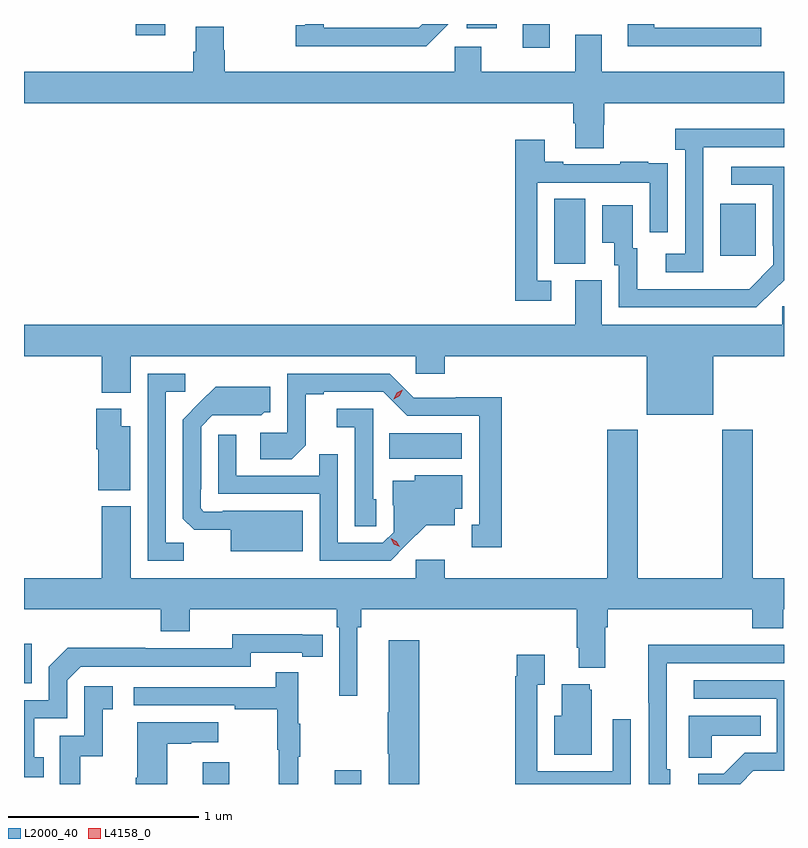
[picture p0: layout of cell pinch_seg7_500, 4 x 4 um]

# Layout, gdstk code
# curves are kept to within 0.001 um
import gdstk
lib = gdstk.Library(unit=1e-6, precision=1e-09)
def R(c, l, rs):  # rectangles x0, y0, x1, y1
    for r in rs: c.add(gdstk.rectangle(r[:2], r[2:], *l))
def P(c, l, *ps):  # polygons
    for p in ps: c.add(gdstk.Polygon(p, *l))
L2000_40 = (2000, 40)
L4158_0 = (4158, 0)

pinch_seg7_500 = lib.new_cell('pinch_seg7_500')
R(pinch_seg7_500, L2000_40, [(121.733,1072.956,121.873,1073.071), (122.429,1072.956,122.569,1073.029), (120.793,1073.487,120.834,1073.695), (122.716,1074.668,123.097,1074.802), (123.584,1075.693,123.748,1076.036), (124.457,1075.737,124.645,1076.011), (123.419,1076.832,123.559,1076.956), (121.381,1076.898,121.537,1076.956), (123.122,1076.934,123.28,1076.956)])
P(pinch_seg7_500, L2000_40, [(123.026,1076.956),(122.89,1076.956),(122.871,1076.937),(122.371,1076.937),(122.371,1076.956),(122.274,1076.956),(122.274,1076.95),(122.223,1076.95),(122.223,1076.84),(122.91,1076.84)],
  [(124.672,1076.937),(124.111,1076.937),(124.111,1076.956),(123.971,1076.956),(123.971,1076.84),(124.672,1076.84)],
  [(123.843,1076.427),(123.848,1076.427),(123.848,1076.54),(124.793,1076.54),(124.793,1076.704),(123.835,1076.704),(123.835,1076.899),(123.695,1076.899),(123.695,1076.704),(123.199,1076.704),(123.199,1076.836),(123.06,1076.836),(123.06,1076.704),(121.85,1076.704),(121.85,1076.817),(121.845,1076.817),(121.845,1076.942),(121.697,1076.942),(121.697,1076.81),(121.685,1076.81),(121.685,1076.704),(120.793,1076.704),(120.793,1076.54),(123.683,1076.54),(123.683,1076.434),(123.695,1076.434),(123.695,1076.302),(123.843,1076.302)],
  [(124.368,1076.107),(124.369,1076.107),(124.369,1076.307),(124.793,1076.307),(124.793,1076.404),(124.221,1076.404),(124.221,1076.294),(124.272,1076.294),(124.272,1075.746),(124.17,1075.746),(124.17,1075.65),(124.368,1075.65)],
  [(123.568,1075.605),(123.495,1075.605),(123.495,1076.121),(124.086,1076.121),(124.086,1075.86),(124.182,1075.86),(124.182,1076.114),(124.181,1076.114),(124.181,1076.223),(124.079,1076.223),(124.079,1076.23),(123.931,1076.23),(123.931,1076.217),(123.631,1076.217),(123.631,1076.23),(123.535,1076.23),(123.535,1076.347),(123.379,1076.347),(123.379,1075.5),(123.568,1075.5)],
  [(124.739,1075.555),(124.74,1075.554),(124.793,1075.607),(124.793,1076.205),(124.515,1076.205),(124.515,1076.109),(124.734,1076.109),(124.734,1075.789),(124.737,1075.789),(124.737,1075.689),(124.609,1075.561),(124.021,1075.56),(124.021,1075.776),(123.997,1075.776),(123.997,1076.002),(123.836,1076.002),(123.836,1075.805),(123.899,1075.805),(123.899,1075.686),(123.924,1075.686),(123.924,1075.464),(124.648,1075.464)],
  [(124.42,1075.208),(124.793,1075.208),(124.793,1075.47),(124.785,1075.47),(124.785,1075.372),(123.835,1075.372),(123.835,1075.608),(123.695,1075.608),(123.695,1075.372),(120.793,1075.372),(120.793,1075.208),(121.202,1075.208),(121.202,1075.016),(121.354,1075.016),(121.354,1075.208),(122.856,1075.208),(122.856,1075.115),(123.008,1075.115),(123.008,1075.208),(124.07,1075.208),(124.07,1074.899),(124.42,1074.899)],
  [(121.635,1074.227),(121.539,1074.227),(121.539,1075.02),(121.642,1075.02),(121.642,1075.116),(121.443,1075.116),(121.443,1074.132),(121.635,1074.132)],
  [(123.307,1074.992),(123.066,1074.992),(123.066,1074.99),(122.844,1074.99),(122.718,1075.116),(122.178,1075.116),(122.178,1074.804),(122.037,1074.804),(122.037,1074.664),(122.201,1074.664),(122.277,1074.74),(122.277,1075.008),(122.371,1075.008),(122.371,1075.02),(122.685,1075.02),(122.811,1074.894),(123.188,1074.894),(123.188,1074.321),(123.149,1074.321),(123.149,1074.201),(123.307,1074.201)],
  [(122.26,1074.394),(121.84,1074.394),(121.84,1074.39),(121.74,1074.39),(121.722,1074.408),(121.722,1074.508),(121.725,1074.508),(121.725,1074.837),(121.785,1074.897),(122.042,1074.896),(122.058,1074.912),(122.089,1074.912),(122.089,1075.048),(121.801,1075.048),(121.629,1074.874),(121.629,1074.352),(121.688,1074.293),(121.88,1074.293),(121.88,1074.182),(122.26,1074.182)],
  [(121.351,1074.838),(121.306,1074.838),(121.306,1074.931),(121.172,1074.931),(121.172,1074.717),(121.184,1074.717),(121.184,1074.503),(121.351,1074.503)],
  [(122.646,1074.456),(122.631,1074.456),(122.631,1074.93),(122.439,1074.93),(122.439,1074.833),(122.535,1074.833),(122.535,1074.313),(122.646,1074.313)],
  [(122.548,1073.78),(122.567,1073.78),(122.567,1073.876),(123.701,1073.876),(123.701,1073.674),(123.713,1073.674),(123.713,1073.567),(123.853,1073.567),(123.853,1073.78),(123.866,1073.78),(123.866,1073.876),(124.625,1073.876),(124.625,1073.777),(124.79,1073.777),(124.79,1073.876),(124.793,1073.876),(124.793,1074.04),(124.628,1074.04),(124.628,1074.82),(124.468,1074.82),(124.468,1074.04),(124.023,1074.04),(124.023,1074.82),(123.863,1074.82),(123.863,1074.04),(123.008,1074.04),(123.008,1074.136),(122.856,1074.136),(122.856,1074.04),(121.354,1074.04),(121.354,1074.418),(121.202,1074.418),(121.202,1074.04),(120.793,1074.04),(120.793,1073.876),(121.514,1073.876),(121.514,1073.759),(121.666,1073.759),(121.666,1073.876),(122.438,1073.876),(122.438,1073.78),(122.451,1073.78),(122.451,1073.421),(122.548,1073.421)],
  [(122.806,1074.215),(122.909,1074.317),(123.061,1074.317),(123.061,1074.404),(123.1,1074.404),(123.1,1074.58),(122.85,1074.58),(122.85,1074.553),(122.735,1074.553),(122.735,1074.424),(122.739,1074.424),(122.739,1074.282),(122.682,1074.225),(122.445,1074.225),(122.445,1074.692),(122.347,1074.692),(122.347,1074.579),(121.911,1074.579),(121.911,1074.793),(121.815,1074.793),(121.815,1074.483),(122.349,1074.483),(122.349,1074.132),(122.722,1074.132)],
  [(120.896,1073.097),(120.847,1073.097),(120.847,1073.301),(121.02,1073.301),(121.02,1073.502),(121.092,1073.574),(121.986,1073.574),(121.986,1073.646),(122.258,1073.646),(122.258,1073.626),(122.366,1073.626),(122.366,1073.742),(121.89,1073.743),(121.89,1073.67),(121.43,1073.67),(121.43,1073.672),(121.022,1073.672),(120.924,1073.574),(120.924,1073.397),(120.793,1073.397),(120.793,1072.992),(120.896,1072.992)],
  [(122.873,1073.713),(122.714,1073.713),(122.714,1073.333),(122.707,1073.333),(122.707,1073.116),(122.714,1073.116),(122.714,1072.956),(122.873,1072.956)],
  [(124.195,1073.034),(124.176,1073.034),(124.176,1073.592),(124.793,1073.592),(124.793,1073.688),(124.541,1073.688),(124.541,1073.69),(124.078,1073.69),(124.078,1073.383),(124.08,1073.383),(124.08,1072.956),(124.195,1072.956)],
  [(123.987,1073.296),(123.891,1073.296),(123.891,1073.022),(123.495,1073.022),(123.495,1073.479),(123.535,1073.479),(123.535,1073.635),(123.387,1073.635),(123.387,1073.522),(123.379,1073.522),(123.379,1072.956),(123.987,1072.956)],
  [(122.237,1073.099),(122.248,1073.099),(122.248,1073.273),(122.237,1073.273),(122.237,1073.545),(122.119,1073.545),(122.119,1073.466),(121.371,1073.466),(121.371,1073.37),(121.903,1073.37),(121.903,1073.35),(122.127,1073.35),(122.127,1073.136),(122.134,1073.136),(122.134,1072.956),(122.237,1072.956)],
  [(124.632,1073.025),(124.793,1073.025),(124.793,1073.502),(124.317,1073.502),(124.317,1073.406),(124.755,1073.406),(124.755,1073.121),(124.586,1073.121),(124.475,1073.01),(124.341,1073.01),(124.341,1072.956),(124.562,1072.956)],
  [(123.781,1073.451),(123.77,1073.451),(123.77,1073.482),(123.623,1073.482),(123.623,1073.314),(123.584,1073.314),(123.584,1073.111),(123.781,1073.111)],
  [(121.09,1073.103),(121.208,1073.103),(121.208,1073.349),(121.261,1073.349),(121.261,1073.47),(121.11,1073.47),(121.11,1073.211),(120.981,1073.211),(120.981,1072.956),(121.09,1072.956)],
  [(124.413,1073.21),(124.67,1073.21),(124.67,1073.314),(124.292,1073.314),(124.292,1073.095),(124.413,1073.095)],
  [(121.546,1073.167),(121.673,1073.167),(121.673,1073.177),(121.816,1073.177),(121.816,1073.281),(121.388,1073.281),(121.388,1072.99),(121.381,1072.99),(121.381,1072.956),(121.546,1072.956)])
P(pinch_seg7_500, L4158_0, [(122.738,1074.981),(122.738,1074.981),(122.755,1075.014),(122.787,1075.032),(122.787,1075.032),(122.787,1075.032),(122.77,1075),(122.738,1074.981)],
  [(122.771,1074.204),(122.74,1074.219),(122.722,1074.249),(122.722,1074.249),(122.722,1074.249),(122.753,1074.234),(122.771,1074.204),(122.771,1074.204)])

lib.write_gds('pinch_seg7_500.gds')
